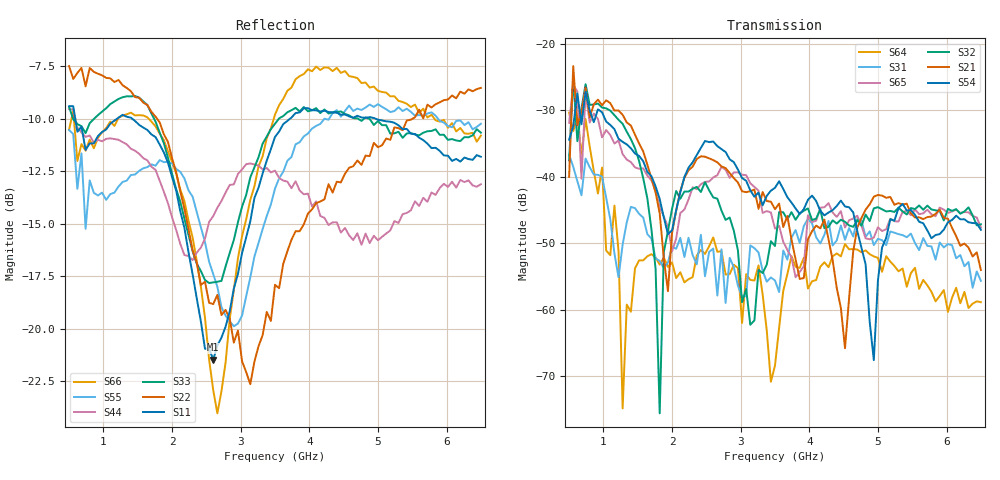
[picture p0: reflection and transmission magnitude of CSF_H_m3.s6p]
!Keysight Technologies,M9804A,MY58100912,A.14.10.03
!Date: Thursday, April 27, 2023 10:28:33
!Correction: S11(C  6-Port  )
!S12(C  6-Port  )
!S13(C  6-Port  )
!S14(C  6-Port  )
!S15(C  6-Port  )
!S16(C  6-Port  )
!S21(C  6-Port  )
!S22(C  6-Port  )
!S23(C  6-Port  )
!S24(C  6-Port  )
!S25(C  6-Port  )
!S26(C  6-Port  )
!S31(C  6-Port  )
!S32(C  6-Port  )
!S33(C  6-Port  )
!S34(C  6-Port  )
!S35(C  6-Port  )
!S36(C  6-Port  )
!S41(C  6-Port  )
!S42(C  6-Port  )
!S43(C  6-Port  )
!S44(C  6-Port  )
!S45(C  6-Port  )
!S46(C  6-Port  )
!S51(C  6-Port  )
!S52(C  6-Port  )
!S53(C  6-Port  )
!S54(C  6-Port  )
!S55(C  6-Port  )
!S56(C  6-Port  )
!S61(C  6-Port  )
!S62(C  6-Port  )
!S63(C  6-Port  )
!S64(C  6-Port  )
!S65(C  6-Port  )
!S66(C  6-Port  )
!S6P File: Measurement: :
# Hz S  RI  R 50
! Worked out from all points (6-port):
!   101 points, 500 MHz to 6.5 GHz, reference 50 ohm
!   strongest paths, dB at 500 MHz, 2 GHz, 3.5 GHz, 5 GHz, 6.5 GHz:
!     S54: -34.4, -48.0, -41.6, -55.6, -48.0
!     S21: -40.0, -48.4, -44.9, -42.7, -54.0
!     S32: -37.5, -44.8, -50.4, -44.6, -47.1
!     S65: -31.9, -51.2, -47.8, -47.6, -47.6
!     S31: -36.6, -50.5, -55.6, -49.3, -55.7
!     S64: -30.3, -52.9, -68.4, -52.2, -58.9
!   lowest |S11| = -21.5 dB at 2.6 GHz (marker M1), VSWR 1.18, Z = 42.5 + j2.15 ohm
!   |S11| at or under -10 dB: 589.9 MHz to 1.193 GHz (603.2 MHz wide, 67.7 % of centre); 1.424 GHz to 3.715 GHz (2.291 GHz wide, 89.1 % of centre); 4.974 GHz to end of sweep
